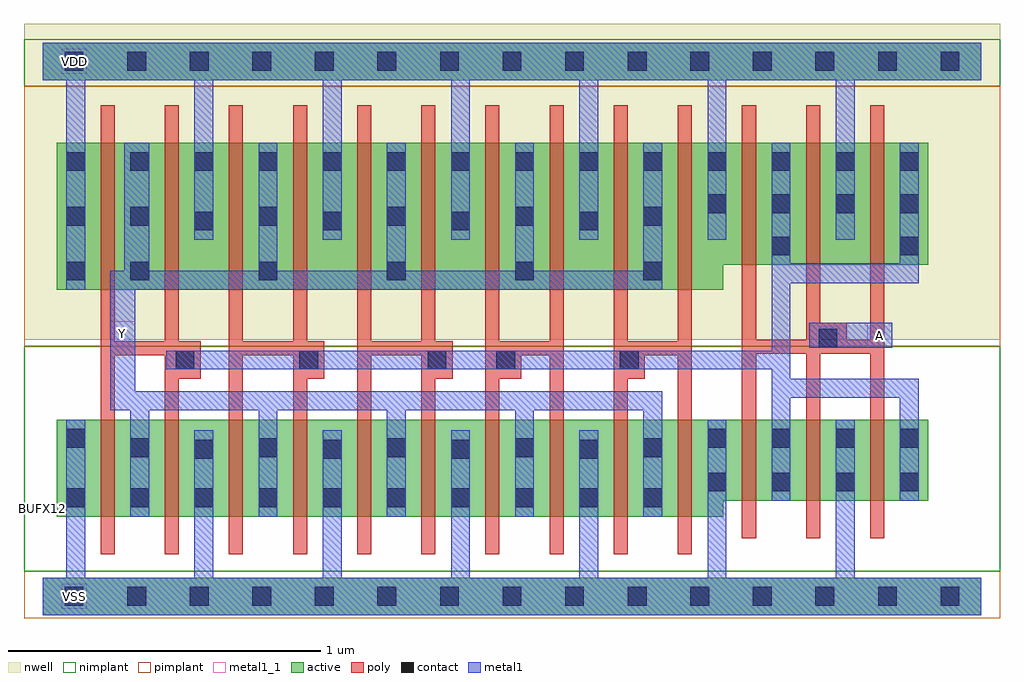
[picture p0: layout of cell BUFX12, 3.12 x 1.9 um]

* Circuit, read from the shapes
.subckt BUFX12 A VDD VSS Y
M1 Y n1 VSS VSS nfet w=0.31u l=0.045u m=10
M2 n1 A VSS VSS nfet w=0.26u l=0.045u m=3
M3 Y n1 VDD VDD pfet w=0.47u l=0.045u m=10
M4 n1 A VDD VDD pfet w=0.39u l=0.045u m=3
.ends

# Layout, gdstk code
import gdstk
lib = gdstk.Library(unit=1e-6, precision=5e-10)
def R(c, l, rs):  # rectangles x0, y0, x1, y1
    for r in rs: c.add(gdstk.rectangle(r[:2], r[2:], *l))
def A(c, l, x, y, w, h, nx, ny, dx, dy):  # array of equal rectangles
    R(c, l, [(x+i*dx, y+j*dy, x+i*dx+w, y+j*dy+h) for i in range(nx) for j in range(ny)])
def P(c, l, *ps):  # polygons
    for p in ps: c.add(gdstk.Polygon(p, *l))
active = (1, 0)
nwell = (2, 0)
poly = (3, 0)
nimplant = (4, 0)
pimplant = (5, 0)
contact = (6, 0)
metal1 = (7, 0)
metal1_1 = (7, 1)

bufx12 = lib.new_cell('BUFX12')
R(bufx12, active, [(0,-0.06,3,0.06), (0,1.65,3,1.77)])
P(bufx12, active, [(0.045,1.45),(2.83,1.45),(2.83,1.06),(2.175,1.06),(2.175,0.98),(0.045,0.98)],
  [(0.045,0.565),(2.83,0.565),(2.83,0.305),(2.175,0.305),(2.175,0.255),(0.045,0.255)])
R(bufx12, nwell, [(-0.06,0.82,3.06,1.83)])
P(bufx12, poly, [(2.69,1.57),(2.645,1.57),(2.645,0.82),(2.57,0.82),(2.57,0.875),(2.485,0.875),(2.485,1.57),(2.44,1.57),(2.44,0.82),(2.28,0.82),(2.28,1.57),(2.235,1.57),(2.235,0.185),(2.28,0.185),(2.28,0.775),(2.44,0.775),(2.44,0.185),(2.485,0.185),(2.485,0.775),(2.645,0.775),(2.645,0.185),(2.69,0.185)],
  [(2.075,1.57),(2.03,1.57),(2.03,0.815),(1.87,0.815),(1.87,1.57),(1.825,1.57),(1.825,0.135),(1.87,0.135),(1.87,0.695),(1.925,0.695),(1.925,0.77),(2.03,0.77),(2.03,0.135),(2.075,0.135)],
  [(1.665,1.57),(1.62,1.57),(1.62,0.815),(1.46,0.815),(1.46,1.57),(1.415,1.57),(1.415,0.135),(1.46,0.135),(1.46,0.695),(1.53,0.695),(1.53,0.77),(1.62,0.77),(1.62,0.135),(1.665,0.135)],
  [(1.31,0.815),(1.255,0.815),(1.255,1.57),(1.21,1.57),(1.21,0.815),(1.05,0.815),(1.05,1.57),(1.005,1.57),(1.005,0.135),(1.05,0.135),(1.05,0.77),(1.21,0.77),(1.21,0.135),(1.255,0.135),(1.255,0.695),(1.31,0.695)],
  [(0.9,0.815),(0.845,0.815),(0.845,1.57),(0.8,1.57),(0.8,0.815),(0.64,0.815),(0.64,1.57),(0.595,1.57),(0.595,0.135),(0.64,0.135),(0.64,0.77),(0.8,0.77),(0.8,0.135),(0.845,0.135),(0.845,0.695),(0.9,0.695)],
  [(0.505,0.815),(0.435,0.815),(0.435,1.57),(0.39,1.57),(0.39,0.815),(0.23,0.815),(0.23,1.57),(0.185,1.57),(0.185,0.135),(0.23,0.135),(0.23,0.77),(0.39,0.77),(0.39,0.135),(0.435,0.135),(0.435,0.695),(0.505,0.695)])
R(bufx12, nimplant, [(-0.06,0.08,3.06,0.8), (-0.06,1.63,3.06,1.78)])
R(bufx12, pimplant, [(-0.06,-0.07,3.06,0.08), (-0.06,0.8,3.06,1.63)])
A(bufx12, contact, 0.07, -0.03, 0.06, 0.06, 15, 2, 0.2, 1.71)
A(bufx12, contact, 0.075, 0.285, 0.06, 0.06, 10, 1, 0.205, 0)
A(bufx12, contact, 2.125, 0.335, 0.06, 0.06, 4, 2, 0.205, 0.14)
A(bufx12, contact, 0.485, 0.44, 0.06, 0.06, 4, 2, 0.41, 0.73)
A(bufx12, contact, 0.28, 0.445, 0.06, 0.06, 5, 2, 0.41, 0.565)
A(bufx12, contact, 0.28, 1.185, 0.06, 0.06, 5, 1, 0.41, 0)
A(bufx12, contact, 2.125, 1.225, 0.06, 0.06, 4, 1, 0.205, 0)
A(bufx12, contact, 0.075, 1.36, 0.06, 0.06, 14, 1, 0.205, 0)
R(bufx12, contact, [(0.075,0.475,0.135,0.535), (0.425,0.725,0.485,0.785), (0.82,0.725,0.88,0.785), (1.23,0.725,1.29,0.785), (1.45,0.725,1.51,0.785), (1.845,0.725,1.905,0.785), (2.48,0.795,2.54,0.855), (0.075,1.01,0.135,1.07), (2.33,1.09,2.39,1.15), (2.74,1.09,2.8,1.15), (0.075,1.185,0.135,1.245)])
R(bufx12, metal1, [(2.45,0.795,2.715,0.875)])
P(bufx12, metal1, [(0,1.77),(3,1.77),(3,1.65),(2.595,1.65),(2.595,1.14),(2.535,1.14),(2.535,1.65),(2.185,1.65),(2.185,1.14),(2.125,1.14),(2.125,1.65),(1.775,1.65),(1.775,1.14),(1.715,1.14),(1.715,1.65),(1.365,1.65),(1.365,1.14),(1.305,1.14),(1.305,1.65),(0.955,1.65),(0.955,1.14),(0.895,1.14),(0.895,1.65),(0.545,1.65),(0.545,1.14),(0.485,1.14),(0.485,1.65),(0.135,1.65),(0.135,0.98),(0.075,0.98),(0.075,1.65),(0,1.65)],
  [(0.26,1.45),(0.34,1.45),(0.34,1.04),(0.69,1.04),(0.69,1.45),(0.75,1.45),(0.75,1.04),(1.1,1.04),(1.1,1.45),(1.16,1.45),(1.16,1.04),(1.51,1.04),(1.51,1.45),(1.57,1.45),(1.57,1.04),(1.92,1.04),(1.92,1.45),(1.98,1.45),(1.98,0.98),(0.295,0.98),(0.295,0.655),(1.98,0.655),(1.98,0.255),(1.92,0.255),(1.92,0.595),(1.57,0.595),(1.57,0.255),(1.51,0.255),(1.51,0.595),(1.16,0.595),(1.16,0.255),(1.1,0.255),(1.1,0.595),(0.75,0.595),(0.75,0.255),(0.69,0.255),(0.69,0.595),(0.34,0.595),(0.34,0.255),(0.28,0.255),(0.28,0.595),(0.215,0.595),(0.215,1.04),(0.26,1.04)],
  [(2.33,1.45),(2.39,1.45),(2.39,1.065),(2.74,1.065),(2.74,1.45),(2.8,1.45),(2.8,1),(2.39,1),(2.39,0.695),(2.8,0.695),(2.8,0.305),(2.74,0.305),(2.74,0.635),(2.39,0.635),(2.39,0.305),(2.33,0.305),(2.33,0.725),(0.395,0.725),(0.395,0.785),(2.33,0.785)],
  [(0.075,0.565),(0.135,0.565),(0.135,0.06),(0.485,0.06),(0.485,0.53),(0.545,0.53),(0.545,0.06),(0.895,0.06),(0.895,0.53),(0.955,0.53),(0.955,0.06),(1.305,0.06),(1.305,0.53),(1.365,0.53),(1.365,0.06),(1.715,0.06),(1.715,0.53),(1.775,0.53),(1.775,0.06),(2.125,0.06),(2.125,0.565),(2.185,0.565),(2.185,0.06),(2.535,0.06),(2.535,0.565),(2.595,0.565),(2.595,0.06),(3,0.06),(3,-0.06),(0,-0.06),(0,0.06),(0.075,0.06)])
R(bufx12, metal1_1, [(0.06,-0.04,0.14,0.04), (2.635,0.795,2.715,0.875), (0.215,0.8,0.295,0.88), (0.06,1.67,0.14,1.75)])
bufx12.add(gdstk.Label('Y', (0.255,0.84), layer=7, texttype=1))
bufx12.add(gdstk.Label('A', (2.675,0.835), layer=7, texttype=1))
bufx12.add(gdstk.Label('VDD', (0.1,1.71), layer=7, texttype=1))
bufx12.add(gdstk.Label('VSS', (0.1,0), layer=7, texttype=1))
bufx12.add(gdstk.Label('BUFX12', (0,0.28), layer=63, texttype=0))

lib.write_gds('BUFX12.gds')
